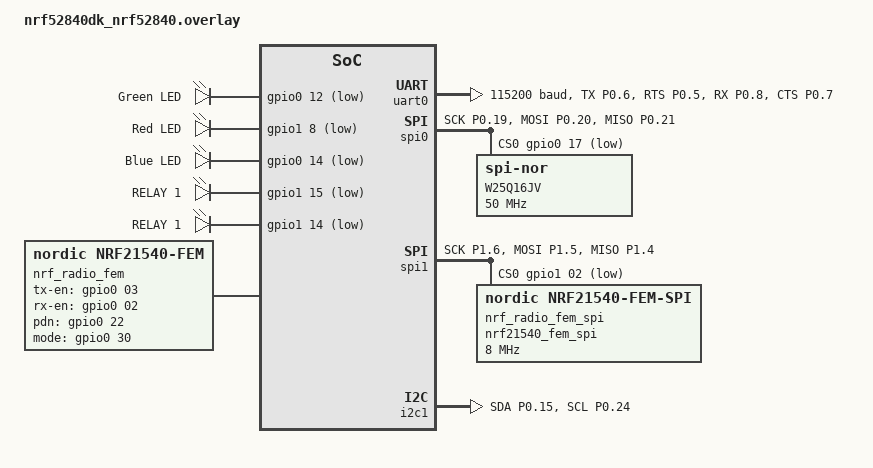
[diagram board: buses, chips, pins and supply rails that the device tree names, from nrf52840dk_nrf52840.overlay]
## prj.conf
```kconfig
CONFIG_STDOUT_CONSOLE=y
CONFIG_FLASH=y
CONFIG_SPI=y
CONFIG_SPI_NOR=y
CONFIG_MULTITHREADING=y
CONFIG_NORDIC_QSPI_NOR=n
CONFIG_GPIO=y
CONFIG_NRFX_GPIOTE=y


CONFIG_USE_SEGGER_RTT=y
CONFIG_BT_DEBUG_LOG=y
CONFIG_BT_DEBUG_MONITOR_RTT=y
CONFIG_PRINTK=y
CONFIG_CONSOLE=y
CONFIG_UART_CONSOLE=n
CONFIG_RTT_CONSOLE=y
CONFIG_LOG=y
CONFIG_LOG_BACKEND_RTT=y
CONFIG_LOG_BACKEND_UART=n
CONFIG_LOG_PRINTK=y
```

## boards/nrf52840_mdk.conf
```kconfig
#
# Copyright (c) 2020 Stephane D'Alu
#
# SPDX-License-Identifier: Apache-2.0
#

CONFIG_SPI=y
CONFIG_NORDIC_QSPI_NOR=n
```

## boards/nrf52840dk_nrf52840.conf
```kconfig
#
# Copyright (c) 2019 Peter Bigot Consulting, LLC
# Copyright (c) 2019 Nordic Semiconductor ASA
#
# SPDX-License-Identifier: Apache-2.0
#

CONFIG_NORDIC_QSPI_NOR=n
```

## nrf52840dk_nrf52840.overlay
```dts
// To get started, press Ctrl+Space to bring up the completion menu and view the available nodes.
 
// You can also use the buttons in the sidebar to perform actions on nodes.
// Actions currently available include:
 
// * Enabling / disabling the node
// * Adding the bus to a bus
// * Removing the node
// * Connecting ADC channels
 
// For more help, browse the DeviceTree documentation at https: //docs.zephyrproject.org/latest/guides/dts/index.html
// You can also visit the nRF DeviceTree extension documentation at https: //nrfconnect.github.io/vscode-nrf-connect/devicetree/nrfdevicetree.html
&pinctrl {
 
   
 
    uart0_default_atl: uart0_default_atl {
        group1 {
            psels = <NRF_PSEL(UART_TX, 0, 6)>,
                    <NRF_PSEL(UART_RTS, 0, 5)>;
 
        };
        group2 {
            psels = <NRF_PSEL(UART_RX, 0, 8)>,
                    <NRF_PSEL(UART_CTS, 0, 7)>;
            bias-pull-up;
        };
 
    };
 
    uart0_sleep_atl: uart0_sleep_atl {
        group1 {
            psels = <NRF_PSEL(UART_TX, 0, 6)>,
                    <NRF_PSEL(UART_RX, 0, 8)>,
                    <NRF_PSEL(UART_RTS, 0, 5)>,
                    <NRF_PSEL(UART_CTS, 0, 7)>;
            low-power-enable;
        };
    };
 
    spi0_default_exflash: spi0_default_exflash{
        group1 {
            psels = <NRF_PSEL(SPIM_SCK, 0, 19)>,
                    <NRF_PSEL(SPIM_MOSI, 0, 20)>,
                    <NRF_PSEL(SPIM_MISO, 0, 21)>;
 
        };
    };
 
    spi0_sleep_exflash: spi0_sleep_exflash {
        group1 {
            psels = <NRF_PSEL(SPIM_SCK, 0, 19)>,
                    <NRF_PSEL(SPIM_MOSI, 0, 20)>,
                    <NRF_PSEL(SPIM_MISO, 0, 21)>;
            low-power-enable;
        };
    };
 
    spi1_default_exflash: spi1_default_exflash{
        group1 {
            psels = <NRF_PSEL(SPIM_SCK, 1, 6)>,
                    <NRF_PSEL(SPIM_MOSI, 1, 5)>,
                    <NRF_PSEL(SPIM_MISO, 1, 4)>;
        };
    };
 
    spi1_sleep_exflash: spi1_sleep_exflash {
        group1 {
            psels = <NRF_PSEL(SPIM_SCK, 1, 6)>,
                    <NRF_PSEL(SPIM_MOSI, 1, 5)>,
                    <NRF_PSEL(SPIM_MISO, 1, 4)>;
            low-power-enable;
        };
    };
 
 
    i2c1_default_atl: i2c1_default_atl {
        group1 {
            psels = <NRF_PSEL(TWIM_SDA, 0, 15)>,
                    <NRF_PSEL(TWIM_SCL, 0, 24)>;
        };
    };
 
    i2c1_sleep_atl: i2c1_sleep_atl {
        group1 {
            psels = <NRF_PSEL(TWIM_SDA, 0, 15)>,
                    <NRF_PSEL(TWIM_SCL, 0, 24)>;
            low-power-enable;
        };
    };
};
 
 
 
/ {
    leds {
        compatible = "gpio-leds";
        led_g: led_g {
            gpios = <&gpio0 12 GPIO_ACTIVE_LOW>;
            label = "Green LED";
        };
        led_r: led_r {
            gpios = <&gpio1 8 GPIO_ACTIVE_LOW>;
            label = "Red LED";
        };
 
        led_b: led_b {
            gpios = <&gpio0 14 GPIO_ACTIVE_LOW>;
            label = "Blue LED";
        };
 
        led_0 {
            status = "disabled";
        };
 
        led_1 {
            status = "disabled";
        };
 
        led_2 {
            status = "disabled";
        };
 
        led_3 {
            status = "disabled";
        };
 
        relay_1: relay_1{
            gpios = <&gpio1 15 GPIO_ACTIVE_LOW>;
            label = "RELAY 1";
        };
 
        relay_2: relay_2{
            gpios = <&gpio1 14 GPIO_ACTIVE_LOW>;
            label = "RELAY 1";
        };
    };
 
 
    nrf_radio_fem: nrf21540_fem {
        compatible = "nordic,nrf21540-fem";
        tx-en-gpios = <&gpio0 03 GPIO_ACTIVE_HIGH>;
        rx-en-gpios = <&gpio0 02 GPIO_ACTIVE_HIGH>;
        pdn-gpios = <&gpio0 22 GPIO_ACTIVE_HIGH>;
        mode-gpios = <&gpio0 30 GPIO_ACTIVE_HIGH>;
        spi-if = <&fem_spi>;
    };
 
    buttons{
        button_0 {
            status = "disabled";
        };
        button_1 {
            status = "disabled";
        };
 
        button_2 {
            status = "disabled";
        };
 
        button_3 {
            status = "disabled";
        };
    };
 
    chosen {
        // uart0=&uart0;
        // zephyr,sram = &sram0;
        // zephyr,flash = &flash0;
        // zephyr,code-partition = &slot0_partition;
        // zephyr,ieee802154 = &ieee802154;
        nordic,pm-ext-flash = &w25q16jv;
       
    };
 
    aliases {
        ledr=&led_r;
        ledg=&led_g;
        ledb=&led_b;
        relay1 =&relay_1;
        relay2= &relay_2;
        // ledtest =&led_test;
        spi-flash0 = &w25q16jv;
    };
};
 
//
&uart0 {
    compatible = "nordic,nrf-uarte";
    status = "okay";
    current-speed = <115200>;
    pinctrl-0 = <&uart0_default_atl>;
    pinctrl-1 = <&uart0_sleep_atl>;
    pinctrl-names = "default", "sleep";
    // nina_module: nina@0 {
    //  compatible = "u-blox,nina-w132-04b-00";
 
    //  // uart-rx = <6>;    /* GPIO pin 0.06 */
    //  // uart-tx = <8>;    /* GPIO pin 0.08 */
    //  // cts-pin = <7>;    /* GPIO pin 0.07 */
    //  // rts-pin = <5>;    /* GPIO pin 0.05 */
    //  // dsr-pin = <26>;   /* GPIO pin 0.26 */
    //  // reset-pin = <27>; /* GPIO pin 0.27 */
    //  // dtr-pin = <4>;    /* GPIO pin 0.04 */
    // };
};
 
&pwm0{
    status = "disabled";
};
 
&i2c0 {
    status = "disabled";
};
 
 
&spi0 {
    compatible = "nordic,nrf-spi";
    /* Cannot be used together with i2c0. */
    status = "okay";
    pinctrl-0 = <&spi0_default_exflash>;
    pinctrl-1 = <&spi0_sleep_exflash>;
    pinctrl-names = "default", "sleep";
    cs-gpios = <&gpio0 17 GPIO_ACTIVE_LOW>;
    w25q16jv: w25q16jv@0 {
		compatible = "jedec,spi-nor";
		reg = <0>;
        label = "W25Q16JV";
		// fR = 50 Mhz
		spi-max-frequency = <50000000>;
		jedec-id = [ef 70 15];
		sfdp-bfp = [
			e5 20 f9 ff  ff ff ff 00  44 eb 08 6b  08 3b 42 bb
			fe ff ff ff  ff ff 00 00  ff ff 40 eb  0c 20 0f 52
			10 d8 00 00  36 02 a6 00  82 ea 14 b3  e9 63 76 33
			7a 75 7a 75  f7 a2 d5 5c  19 f7 4d ff  e9 30 f8 80
        	];
		size = <16777216>;
		has-dpd;
		// tdp = 3000 uS
		t-enter-dpd = <3000>;
		// tres1 = 3000 uS
		t-exit-dpd = <3000>;
	};	
};
 
fem_spi: &spi1 {
    status = "okay";
    cs-gpios = <&gpio1 02 GPIO_ACTIVE_LOW>;
    nrf_radio_fem_spi: nrf21540_fem_spi@0 {
       compatible = "nordic,nrf21540-fem-spi";
       status = "okay";
       reg = <0>;
       spi-max-frequency = <8000000>;
    };
 };
 
&spi1 {
    compatible = "nordic,nrf-spi";
    /* Cannot be used together with i2c0. */
    status = "okay";
    pinctrl-0 = <&spi1_default_exflash>;
    pinctrl-1 = <&spi1_sleep_exflash>;
    pinctrl-names = "default", "sleep";
    //
};
 
&i2c1 {
    compatible = "nordic,nrf-twi";
    status = "okay";
    pinctrl-0 = <&i2c1_default_atl>;
    pinctrl-1 = <&i2c1_sleep_atl>;
    pinctrl-names = "default", "sleep";
    // rtc: rtc@51 {
        //     compatible = "epson,rx8130";
        //     reg = <0x51>;
        //     isw-gpios = <&gpio0 13 (GPIO_PULL_UP | GPIO_ACTIVE_LOW)>;
    // };
 
};
 
&spi3 {
    status = "disabled";
};
 
&qspi {
    status = "disabled";
};
 
```

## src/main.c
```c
/*
 * Copyright (c) 2016 Intel Corporation.
 *
 * SPDX-License-Identifier: Apache-2.0
 */

#include <zephyr/kernel.h>
#include <zephyr/drivers/flash.h>
#include <zephyr/device.h>
#include <zephyr/devicetree.h>
#include <stdio.h>
#include <string.h>


#define SPI_FLASH_TEST_REGION_OFFSET 0x00000
#define SPI_FLASH_READ_OFFSET 0x0f000
#define SPI_FLASH_SECTOR_SIZE        0x200000


uint8_t buf[1000];

void read(const struct device *flash_dev)
{
  int rc;
		memset(buf, 0, 1000);
	rc = flash_read(flash_dev, SPI_FLASH_READ_OFFSET, buf, 1000);
	if (rc != 0) {
		printf("Flash read failed! %d\n", rc);
		return;
	}

	for(int i =0 ; i<1000 ; i++)
	{
		printf("%x ",buf[i]); 
	}
}

// void write(const struct device *flash_dev)
// {
  
// }

void erase(const struct device *flash_dev)
{
      printf("\nTest 1: Flash erase\n");
   int rc; 
	/* Full flash erase if SPI_FLASH_TEST_REGION_OFFSET = 0 and
	 * SPI_FLASH_SECTOR_SIZE = flash size
	 */
	rc = flash_erase(flash_dev, SPI_FLASH_TEST_REGION_OFFSET,
			 SPI_FLASH_SECTOR_SIZE);
	if (rc != 0) {
		printf("Flash erase failed! %d\n", rc);
	} else {
		printf("Flash erase succeeded!\n");
	}
}


void single_sector_test(const struct device *flash_dev)
{
	// const uint8_t expected[] = { 0x55, 0xaa, 0x66, 0x99 };
	// const size_t len = sizeof(expected);
	
	int rc;

	// printf("\nPerform test on single sector");
	/* Write protection needs to be disabled before each write or
	 * erase, since the flash component turns on write protection
	 * automatically after completion of write and erase
	 * operations.
	 */
	

	// printf("\nTest 2: Flash write\n");

	// printf("Attempting to write %zu bytes\n", len);
	// rc = flash_write(flash_dev, SPI_FLASH_TEST_REGION_OFFSET, expected, len);
	// if (rc != 0) {
	// 	printf("Flash write failed! %d\n", rc);
	// 	return;
	// }



	// if (memcmp(expected, buf, len) == 0) {
	// 	printf("Data read matches data written. Good!!\n");
	// } else {
	// 	const uint8_t *wp = expected;
	// 	const uint8_t *rp = buf;
	// 	const uint8_t *rpe = rp + len;

	// 	printf("Data read does not match data written!!\n");
	// 	while (rp < rpe) {
	// 		printf("%08x wrote %02x read %02x %s\n",
	// 		       (uint32_t)(SPI_FLASH_TEST_REGION_OFFSET + (rp - buf)),
	// 		       *wp, *rp, (*rp == *wp) ? "match" : "MISMATCH");
	// 		++rp;
	// 		++wp;
	// 	}
	// }
}


int main(void)
{
	const struct device *flash_dev = DEVICE_DT_GET(DT_ALIAS(spi_flash0));

	if (!device_is_ready(flash_dev)) {
		printk("%s: device not ready.\n", flash_dev->name);
		return 0;
	}

	printf("\n%s SPI flash testing\n", flash_dev->name);
	printf("==========================\n");

	// single_sector_test(flash_dev);
	erase(flash_dev);
    // read(flash_dev); 
	return 0;
}
```
